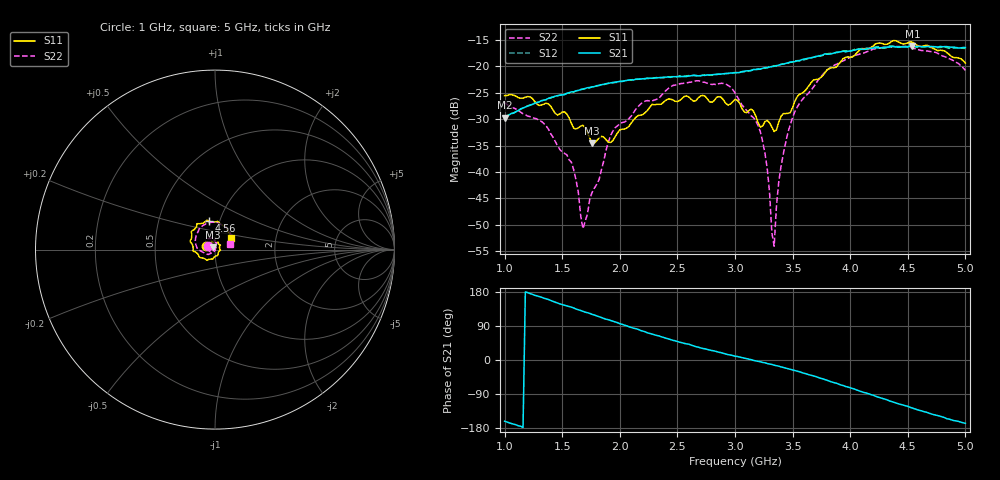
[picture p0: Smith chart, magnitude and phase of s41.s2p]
! Fachhochschule Frankfurt am Main - Electrotechnik Labor
! January 22, 2015 - 15:16
! This file was generated by Network Analyzer Importer software
! Data was imported from Network Analyzer HEWLETT PACKARD,8722A,0,1.03
! Two-port S-parameter data
# GHZ S MA R 50
! Freq  MagS11  AngS11  MagS21  AngS21  MagS12  AngS12  MagS22  AngS22
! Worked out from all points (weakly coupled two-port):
!   201 points, 1 GHz to 5 GHz, reference 50 ohm
!   highest |S21| = -16.18 dB at 4.54 GHz (marker M1); lowest = -29.7 dB at 1 GHz (marker M2)
!   lowest |S11| = -34.6 dB at 1.76 GHz (marker M3), VSWR 1.04, Z = 48.7 + j1.33 ohm
!   |S11| at or under -10 dB: start of sweep to end of sweep
!   |S22| runs from -54.0 to -16.3 dB; largest |S21 - S12| = 0.0053
!   S11 on the Smith chart (normalised r, x): 1 GHz: 0.91, +0.03; 4.56 GHz: 0.89, +0.29; 5 GHz: 1.18, +0.15
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1  0.05269 158.6  0.03272 -161.6  0.03302 -161.9  0.04497 150.0
1.32  0.04303 133.3  0.04729 165.6  0.04698 165.2  0.03004 116.9
1.54  0.03539 130.3  0.0553 142.7  0.05544 142.5  0.01456 96.0
1.62  0.02549 123.0  0.05857 134.7  0.05841 135.0  0.008377 107.4
1.68  0.02761 126.1  0.06094 128.4  0.06052 128.6  0.002907 168.7
1.76  0.01869 133.1  0.06383 120.3  0.0637 120.5  0.006423 -116.0
1.96  0.02157 147.7  0.07066 100.5  0.07019 100.6  0.02624 -150.8
2.34  0.04361 153.4  0.07802 63.6  0.07822 62.7  0.04972 158.7
2.66  0.04705 119.1  0.08185 35.2  0.08098 34.9  0.07267 125.6
3  0.04864 66.0  0.08671 9.9  0.08734 10.2  0.05603 95.8
3.22  0.0266 19.3  0.09401 -4.6  0.09375 -4.5  0.02406 69.2
3.28  0.03078 -6.4  0.09679 -9.4  0.0972 -9.1  0.01074 65.9
3.32  0.02664 -13.7  0.09904 -11.8  0.09947 -12.4  0.00266 47.0
3.34  0.02411 -28.7  0.1001 -13.8  0.1007 -13.5  0.001986 -60.5
3.38  0.02963 -55.0  0.1024 -16.2  0.1028 -16.8  0.008107 -111.5
3.46  0.03585 -75.0  0.1078 -22.9  0.1069 -23.1  0.02372 -135.5
3.68  0.07383 -127.3  0.1214 -41.9  0.1214 -42.0  0.06322 -164.1
3.86  0.09652 -160.1  0.1334 -59.6  0.1338 -59.9  0.1018 173.3
4.34  0.1651 128.2  0.1518 -107.9  0.1554 -107.3  0.1534 108.7
4.54  0.1688 104.1  0.1552 -126.8  0.155 -128.2  0.1479 84.2
4.56  0.1644 102.4  0.1538 -128.9  0.1533 -130.5  0.1467 81.1
5  0.1069 35.9  0.1503 -167.0  0.1474 -167.0  0.09142 20.3
